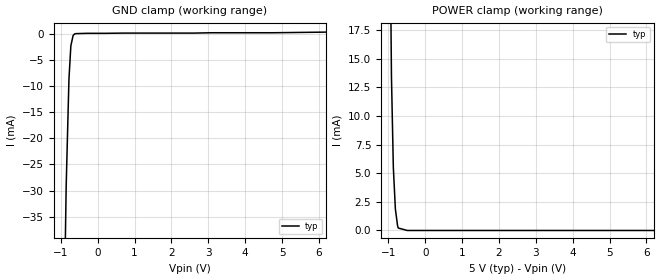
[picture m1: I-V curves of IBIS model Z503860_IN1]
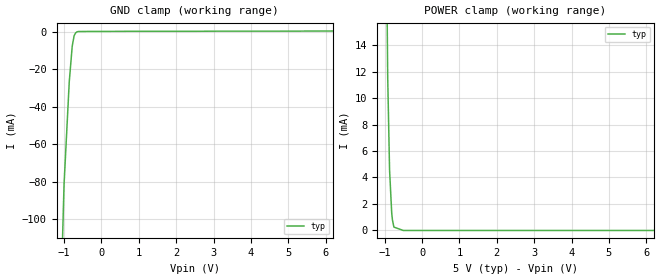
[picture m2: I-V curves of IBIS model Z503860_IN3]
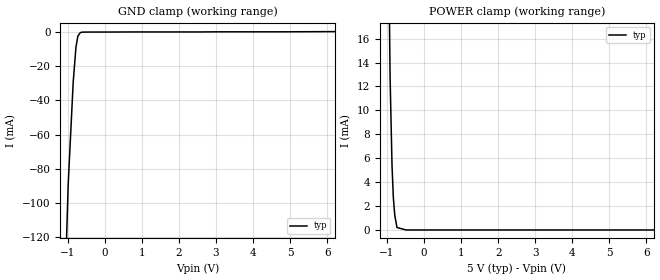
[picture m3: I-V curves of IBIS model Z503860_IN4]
| YOU ARE ONLY AUTHORIZED TO USE THIS SOFTWARE
| ACCORDING TO LICENSOR'S LICENSE RESTRICTIONS.
[IBIS Ver] 3.1
[File Name] mc74act374.ibs
[File Rev] 2.0
[Source] Measured and created by ICX Technology
[Date] Friday 7/14/00 9:08:01 AM
[Copyright]
| (C) COPYRIGHT 1993-2000
| MENTOR GRAPHICS CORPORATION
| ICX STANDARD LIBRARY, ICX PROJECT MODELING,
| ICX CUSTOM MODELING, ICX VENDOR MODEL
| ALL RIGHTS RESERVED.
| THE FOLLOWING ARE TRADEMARKS OR SERVICE MARKS OF
| MENTOR GRAPHICS CORPORATION:ICX (R), ICX STANDARD
| LIBRARY(R), ICX PROJECT MODELING(R), ICX CUSTOM
| MODELING(R), qualityIBIS(TM), MODELVIEWER(TM),
| AND MODELEDITOR(TM)
| ALL COPIES OF SOFTWARE, INCLUDING BUT NOT LIMITED TO
| ANY MODIFICATIONS, ENHANCEMENTS OR DERIVATIVE WORKS,
| MUST CONTAIN ALL MENTOR GRAPHICS CORPORATION'S
| NOTICES AND LEGENDS, INCLUDING THOSE EMBEDDED IN
| SOFTWARE AND THOSE AFFIXED TO SOFTWARE MEDIUM
| AND CONTAINER, AS RECEIVED FROM MENTOR GRAPHICS
| CORPORATION.
|  ZAP Model Builder 2.7
[Component] MC74ACT374
[Manufacturer] OnSemiconductor
[Package]
| variable   typ   min   max
R_pkg  .178ohms NA NA
L_pkg  4.43nH NA NA
C_pkg  .62pF NA NA
[Pin] signal_name  model_name  R_pin  L_pin C_pin
1 _OE Z503860_IN1 .186 5.37n .68p
2 O0 Z503860_TRI2 .182 4.89n .65p
3 D0 Z503860_IN3 .178 4.42n .62p
4 D1 Z503860_IN3 .174 3.96n .59p
5 O1 Z503860_TRI2 .17 3.51n .56p
6 O2 Z503860_TRI2 .17 3.51n .56p
7 D2 Z503860_IN3 .174 3.96n .59p
8 D3 Z503860_IN3 .178 4.42n .62p
9 O3 Z503860_TRI2 .182 4.89n .65p
10 GND GND .186 5.37n .68p
11 CP Z503860_IN4 .186 5.37n .68p
12 O4 Z503860_TRI6 .182 4.89n .65p
13 D4 Z503860_IN5 .178 4.42n .62p
14 D5 Z503860_IN5 .174 3.96n .59p
15 O5 Z503860_TRI6 .17 3.51n .56p
16 O6 Z503860_TRI6 .17 3.51n .56p
17 D6 Z503860_IN5 .174 3.96n .59p
18 D7 Z503860_IN5 .178 4.42n .62p
19 O7 Z503860_TRI6 .182 4.89n .65p
20 VCC POWER .186 5.37n .68p
| Models and submodels in the file (6): Z503860_IN1 (Input), Z503860_IN3 (Input), Z503860_IN4 (Input), Z503860_IN5 (Input), Z503860_TRI2 (3-state), Z503860_TRI6 (3-state)
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| (C) COPYRIGHT 1993-2000
| MENTOR GRAPHICS CORPORATION
| ICX STANDARD LIBRARY, ICX PROJECT MODELING,
| ICX CUSTOM MODELING, ICX VENDOR MODEL
| ALL RIGHTS RESERVED.
| THE FOLLOWING ARE TRADEMARKS OR SERVICE MARKS OF
| MENTOR GRAPHICS CORPORATION:ICX (R), ICX STANDARD
| LIBRARY(R), ICX PROJECT MODELING(R), ICX CUSTOM
| MODELING(R), qualityIBIS(TM), MODELVIEWER(TM),
| AND MODELEDITOR(TM)
| ALL COPIES OF SOFTWARE, INCLUDING BUT NOT LIMITED TO
| ANY MODIFICATIONS, ENHANCEMENTS OR DERIVATIVE WORKS,
| MUST CONTAIN ALL MENTOR GRAPHICS CORPORATION'S
| NOTICES AND LEGENDS, INCLUDING THOSE EMBEDDED IN
| SOFTWARE AND THOSE AFFIXED TO SOFTWARE MEDIUM
| AND CONTAINER, AS RECEIVED FROM MENTOR GRAPHICS
| CORPORATION.
| Model Application Version 1.89 2/18/99.
[Model] Z503860_IN1
Model_type Input
Vinl = 800.0mV
Vinh = 2.000V
C_comp 4.000pF NA NA
| variable typ   min   max
[Voltage Range] 5.000V NA NA
[GND Clamp Reference] 0.000V NA NA
[POWER Clamp Reference] 5.000V NA NA
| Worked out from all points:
|   GND clamp passes 1 mA (typ) near -0.69 V on its own axis
|   POWER clamp passes 1 mA (typ) near -0.78 V on its own axis
[GND Clamp]
-5V       -3.59A     NA         NA
-1.004V   -95.74mA   NA         NA
-856.1mV  -28.99mA   NA         NA
-781.3mV  -8.577mA   NA         NA
-729.8mV  -2.225mA   NA         NA
-668.3mV  -240.5uA   NA         NA
-628.6mV  53.85uA    NA         NA
10V       722.9uA    NA         NA
[POWER Clamp]
-5V       3.647A     NA         NA
-1.113V   112.4mA    NA         NA
-1.006V   44.6mA     NA         NA
-917mV    13.43mA    NA         NA
-866mV    5.51mA     NA         NA
-811mV    1.887mA    NA         NA
-751mV    408uA      NA         NA
-732mV    213.4uA    NA         NA
-488mV    0A         NA         NA
10V       0A         NA         NA
| (C) COPYRIGHT 1993-2000
| MENTOR GRAPHICS CORPORATION
| ICX STANDARD LIBRARY, ICX PROJECT MODELING,
| ICX CUSTOM MODELING, ICX VENDOR MODEL
| ALL RIGHTS RESERVED.
| THE FOLLOWING ARE TRADEMARKS OR SERVICE MARKS OF
| MENTOR GRAPHICS CORPORATION:ICX (R), ICX STANDARD
| LIBRARY(R), ICX PROJECT MODELING(R), ICX CUSTOM
| MODELING(R), qualityIBIS(TM), MODELVIEWER(TM),
| AND MODELEDITOR(TM)
| ALL COPIES OF SOFTWARE, INCLUDING BUT NOT LIMITED TO
| ANY MODIFICATIONS, ENHANCEMENTS OR DERIVATIVE WORKS,
| MUST CONTAIN ALL MENTOR GRAPHICS CORPORATION'S
| NOTICES AND LEGENDS, INCLUDING THOSE EMBEDDED IN
| SOFTWARE AND THOSE AFFIXED TO SOFTWARE MEDIUM
| AND CONTAINER, AS RECEIVED FROM MENTOR GRAPHICS
| CORPORATION.
| Model Application Version 1.89 2/18/99.
[Model] Z503860_IN3
Model_type Input
Vinl = 800.0mV
Vinh = 2.000V
C_comp 4.000pF NA NA
| variable typ   min   max
[Voltage Range] 5.000V NA NA
[GND Clamp Reference] 0.000V NA NA
[POWER Clamp Reference] 5.000V NA NA
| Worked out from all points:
|   GND clamp passes 1 mA (typ) near -0.70 V on its own axis
|   POWER clamp passes 1 mA (typ) near -0.80 V on its own axis
[GND Clamp]
-5V       -2.958A    NA         NA
-999mV    -81.46mA   NA         NA
-859.4mV  -26.64mA   NA         NA
-781.3mV  -7.897mA   NA         NA
-730.1mV  -2.189mA   NA         NA
-687.5mV  -590.6uA   NA         NA
-648.8mV  -44.11uA   NA         NA
10V       618.9uA    NA         NA
[POWER Clamp]
-5V       2.761A     NA         NA
-1.127V   98.69mA    NA         NA
-1.025V   45.09mA    NA         NA
-918mV    11.61mA    NA         NA
-868mV    4.587mA    NA         NA
-811mV    1.348mA    NA         NA
-791mV    794.3uA    NA         NA
-751mV    253.1uA    NA         NA
-500.7mV  0A         NA         NA
10V       0A         NA         NA
| (C) COPYRIGHT 1993-2000
| MENTOR GRAPHICS CORPORATION
| ICX STANDARD LIBRARY, ICX PROJECT MODELING,
| ICX CUSTOM MODELING, ICX VENDOR MODEL
| ALL RIGHTS RESERVED.
| THE FOLLOWING ARE TRADEMARKS OR SERVICE MARKS OF
| MENTOR GRAPHICS CORPORATION:ICX (R), ICX STANDARD
| LIBRARY(R), ICX PROJECT MODELING(R), ICX CUSTOM
| MODELING(R), qualityIBIS(TM), MODELVIEWER(TM),
| AND MODELEDITOR(TM)
| ALL COPIES OF SOFTWARE, INCLUDING BUT NOT LIMITED TO
| ANY MODIFICATIONS, ENHANCEMENTS OR DERIVATIVE WORKS,
| MUST CONTAIN ALL MENTOR GRAPHICS CORPORATION'S
| NOTICES AND LEGENDS, INCLUDING THOSE EMBEDDED IN
| SOFTWARE AND THOSE AFFIXED TO SOFTWARE MEDIUM
| AND CONTAINER, AS RECEIVED FROM MENTOR GRAPHICS
| CORPORATION.
| Model Application Version 1.89 2/18/99.
[Model] Z503860_IN4
Model_type Input
Vinl = 800.0mV
Vinh = 2.000V
C_comp 4.000pF NA NA
| variable typ   min   max
[Voltage Range] 5.000V NA NA
[GND Clamp Reference] 0.000V NA NA
[POWER Clamp Reference] 5.000V NA NA
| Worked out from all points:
|   GND clamp passes 1 mA (typ) near -0.69 V on its own axis
|   POWER clamp passes 1 mA (typ) near -0.78 V on its own axis
[GND Clamp]
-5V       -4.253A    NA         NA
-1.049V   -131.2mA   NA         NA
-991.2mV  -89.25mA   NA         NA
-855.6mV  -29.2mA    NA         NA
-781.2mV  -8.706mA   NA         NA
-729.6mV  -2.255mA   NA         NA
-667.6mV  -262.6uA   NA         NA
-628.3mV  49.85uA    NA         NA
10V       741uA      NA         NA
[POWER Clamp]
-5V       2.315A     NA         NA
-1.132V   94.39mA    NA         NA
-1.011V   39.7mA     NA         NA
-918mV    12.79mA    NA         NA
-866mV    5.421mA    NA         NA
-830mV    2.711mA    NA         NA
-791mV    1.208mA    NA         NA
-732mV    207.2uA    NA         NA
-488mV    0A         NA         NA
10V       0A         NA         NA
